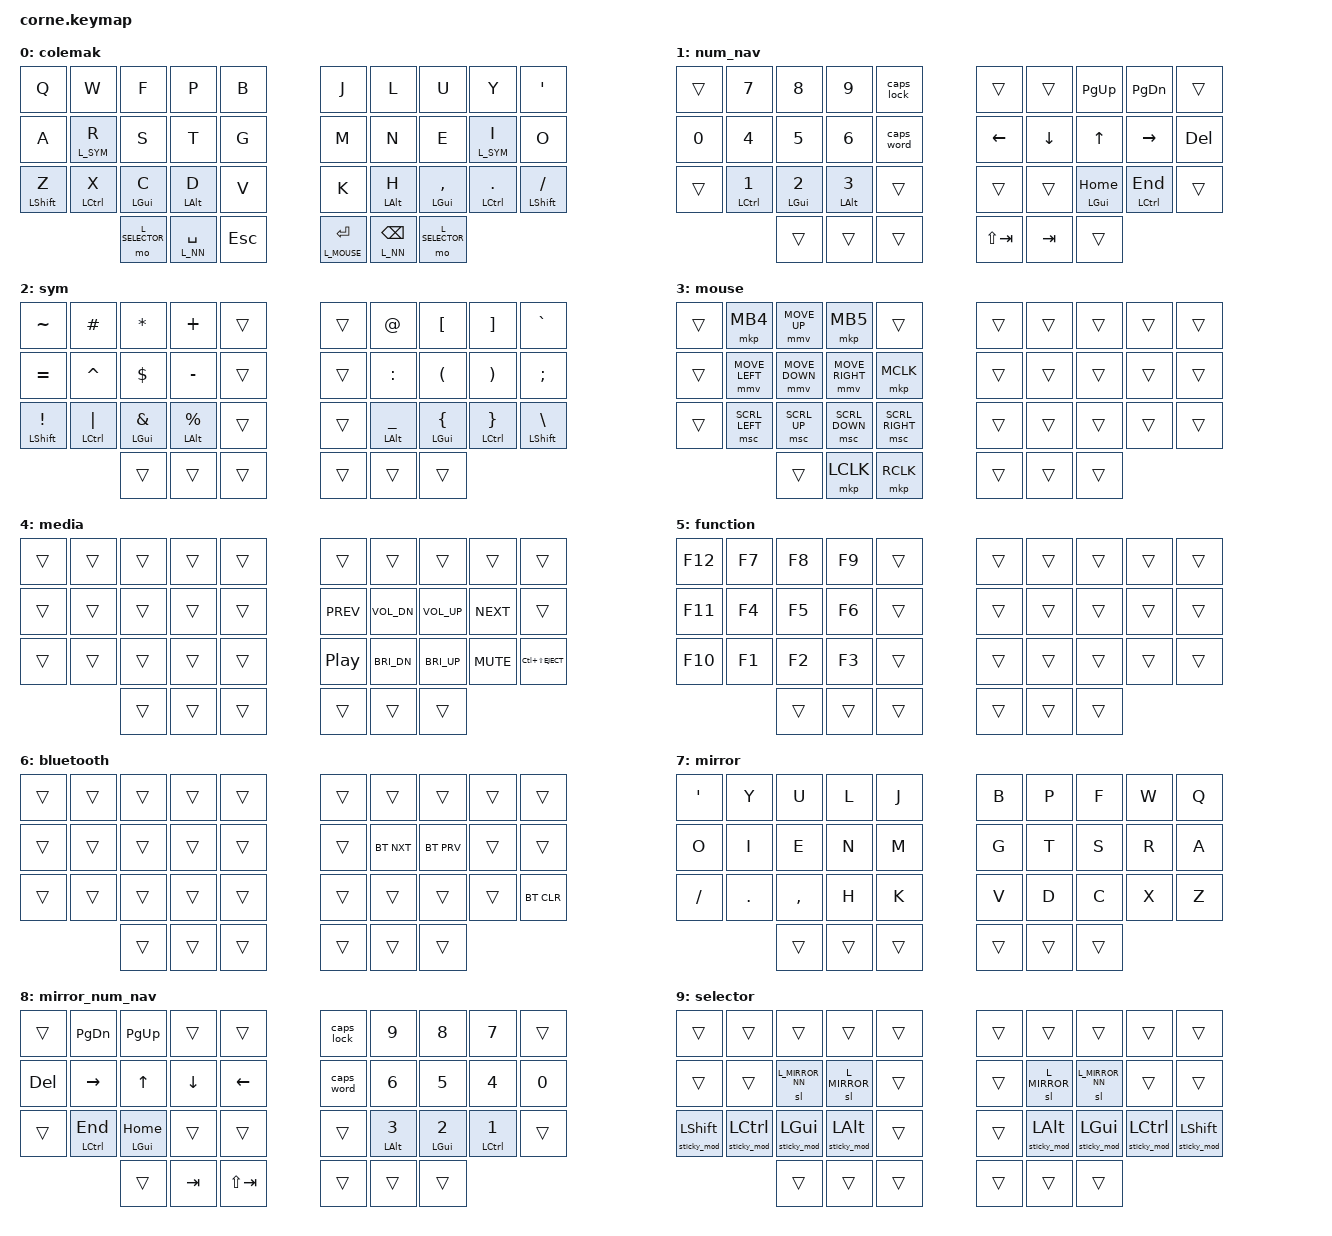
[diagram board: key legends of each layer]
#define ___ &trans

// Keep these indices in sync with the layer order in keymap below.
#define L_BASE 0
#define L_NN 1
#define L_SYM 2
#define L_MOUSE 3
#define L_MED 4
#define L_FUN 5
#define L_BLUETOOTH 6
#define L_MIRROR 7
#define L_MIRROR_NN 8
#define L_SELECTOR 9

#define CK_PRIOR_IDLE 150
#define CK_QUICK_TAP 200
#define CK_LEFT_HAND_KEYS 0 1 2 3 4 10 11 12 13 14 20 21 22 23 24 30 31 32
#define CK_RIGHT_HAND_KEYS 5 6 7 8 9 15 16 17 18 19 25 26 27 28 29 33 34 35

#include <behaviors.dtsi>
#include <dt-bindings/zmk/keys.h>
#include <dt-bindings/zmk/bt.h>

#include <dt-bindings/zmk/pointing.h>
#include <input/processors.dtsi>

&sl {
    release-after-ms = <1500>;
};

/ {
    chosen {
        zmk,physical-layout = &foostan_corne_5col_layout;
    };

    // l/r = hand, m = modifier, l = layer, i = prior idle; tl = thumb layer.
    behaviors {
        // Select any modifiers, select a mirror layer last, then release the thumb.
        sticky_mod: sticky_mod {
            compatible = "zmk,behavior-sticky-key";
            #binding-cells = <1>;
            bindings = <&kp>;
            release-after-ms = <1500>;
            lazy;
            ignore-modifiers;
        };

        // macOS filters short Caps Lock presses; send a fixed-length tap.
        caps_lock: caps_lock {
            compatible = "zmk,behavior-macro";
            #binding-cells = <0>;
            tap-ms = <200>;
            wait-ms = <0>;
            bindings = <&kp CAPS>;
        };

        lm: lm {
            compatible = "zmk,behavior-hold-tap";
            flavor = "balanced";
            bindings = <&kp>, <&kp>;
            #binding-cells = <2>;
            tapping-term-ms = <200>;
            quick-tap-ms = <CK_QUICK_TAP>;
            hold-trigger-key-positions = <CK_RIGHT_HAND_KEYS>;
            hold-trigger-on-release;
        };

        rm: rm {
            compatible = "zmk,behavior-hold-tap";
            flavor = "balanced";
            bindings = <&kp>, <&kp>;
            #binding-cells = <2>;
            tapping-term-ms = <200>;
            quick-tap-ms = <CK_QUICK_TAP>;
            hold-trigger-key-positions = <CK_LEFT_HAND_KEYS>;
            hold-trigger-on-release;
        };

        lmi: lmi {
            compatible = "zmk,behavior-hold-tap";
            flavor = "balanced";
            bindings = <&kp>, <&kp>;
            #binding-cells = <2>;
            tapping-term-ms = <200>;
            quick-tap-ms = <CK_QUICK_TAP>;
            require-prior-idle-ms = <CK_PRIOR_IDLE>;
            hold-trigger-key-positions = <CK_RIGHT_HAND_KEYS>;
            hold-trigger-on-release;
        };

        rmi: rmi {
            compatible = "zmk,behavior-hold-tap";
            flavor = "balanced";
            bindings = <&kp>, <&kp>;
            #binding-cells = <2>;
            tapping-term-ms = <200>;
            quick-tap-ms = <CK_QUICK_TAP>;
            require-prior-idle-ms = <CK_PRIOR_IDLE>;
            hold-trigger-key-positions = <CK_LEFT_HAND_KEYS>;
            hold-trigger-on-release;
        };

        // Thumb layer-taps are not restricted to the opposite hand.
        tl: tl {
            compatible = "zmk,behavior-hold-tap";
            flavor = "balanced";
            bindings = <&mo>, <&kp>;
            #binding-cells = <2>;
            tapping-term-ms = <200>;
            quick-tap-ms = <CK_QUICK_TAP>;
        };

        ll: ll {
            compatible = "zmk,behavior-hold-tap";
            flavor = "balanced";
            bindings = <&mo>, <&kp>;
            #binding-cells = <2>;
            tapping-term-ms = <200>;
            quick-tap-ms = <CK_QUICK_TAP>;
            hold-trigger-key-positions = <CK_RIGHT_HAND_KEYS>;
            hold-trigger-on-release;
        };

        rl: rl {
            compatible = "zmk,behavior-hold-tap";
            flavor = "balanced";
            bindings = <&mo>, <&kp>;
            #binding-cells = <2>;
            tapping-term-ms = <200>;
            quick-tap-ms = <CK_QUICK_TAP>;
            hold-trigger-key-positions = <CK_LEFT_HAND_KEYS>;
            hold-trigger-on-release;
        };
    };

    combos {
        compatible = "zmk,combos";
        combo_media {
            timeout-ms = <40>;
            key-positions = <12 23>;
            bindings = <&mo L_MED>;
            slow-release;
            require-prior-idle-ms = <CK_PRIOR_IDLE>;
        };
        combo_function {
            timeout-ms = <40>;
            key-positions = <17 26>;
            bindings = <&mo L_FUN>;
            slow-release;
            require-prior-idle-ms = <CK_PRIOR_IDLE>;
        };
        combo_bluetooth {
            timeout-ms = <50>;
            key-positions = <0 1 2 3 30>;
            bindings = <&mo L_BLUETOOTH>;
            require-prior-idle-ms = <1000>;
        };
    };

    keymap {
        compatible = "zmk,keymap";

        colemak {
            bindings = <
&kp Q               &kp W               &kp F               &kp P               &kp B               &kp J               &kp L               &kp U               &kp Y               &kp SQT
&kp A               &ll L_SYM R         &kp S               &kp T               &kp G               &kp M               &kp N               &kp E               &rl L_SYM I         &kp O
&lm LSHIFT Z        &lmi LCTRL X        &lmi LGUI C         &lmi LALT D         &kp V               &kp K               &rmi LALT H         &rmi LGUI COMMA     &rmi LCTRL DOT      &rm LSHIFT FSLH
                                        &mo L_SELECTOR      &tl L_NN SPACE      &kp ESC             &tl L_MOUSE RET     &tl L_NN BSPC       &mo L_SELECTOR
            >;
        };

        num_nav {
            bindings = <
___                 &kp N7              &kp N8              &kp N9              &caps_lock          ___                 ___                 &kp PG_UP           &kp PG_DN           ___
&kp N0              &kp N4              &kp N5              &kp N6              &caps_word          &kp LEFT            &kp DOWN            &kp UP              &kp RIGHT           &kp DEL
___                 &lm LCTRL N1        &lm LGUI N2         &lm LALT N3         ___                 ___                 ___                 &rm LGUI HOME       &rm LCTRL END       ___
                                        ___                 ___                 ___                 &kp LS(TAB)         &kp TAB             ___
            >;
        };

        sym {
            bindings = <
&kp TILDE           &kp HASH            &kp STAR            &kp PLUS            ___                 ___                 &kp AT              &kp LBKT            &kp RBKT            &kp GRAVE
&kp EQUAL           &kp CARET           &kp DLLR            &kp MINUS           ___                 ___                 &kp COLON           &kp LPAR            &kp RPAR            &kp SEMI
&lm LSHIFT EXCL     &lm LCTRL PIPE      &lm LGUI AMPS       &lm LALT PRCNT      ___                 ___                 &rm LALT UNDER      &rm LGUI LBRC       &rm LCTRL RBRC      &rm LSHIFT BSLH
                                        ___                 ___                 ___                 ___                 ___                 ___
            >;
        };

        mouse {
            bindings = <
___                 &mkp MB4            &mmv MOVE_UP        &mkp MB5            ___                 ___                 ___                 ___                 ___                 ___
___                 &mmv MOVE_LEFT      &mmv MOVE_DOWN      &mmv MOVE_RIGHT     &mkp MCLK           ___                 ___                 ___                 ___                 ___
___                 &msc SCRL_LEFT      &msc SCRL_UP        &msc SCRL_DOWN      &msc SCRL_RIGHT     ___                 ___                 ___                 ___                 ___
                                        ___                 &mkp LCLK           &mkp RCLK           ___                 ___                 ___
            >;
        };

        media {
            bindings = <
___                 ___                 ___                 ___                 ___                 ___                 ___                 ___                 ___                 ___
___                 ___                 ___                 ___                 ___                 &kp C_PREV          &kp C_VOL_DN        &kp C_VOL_UP        &kp C_NEXT          ___
___                 ___                 ___                 ___                 ___                 &kp C_PP            &kp C_BRI_DN        &kp C_BRI_UP        &kp C_MUTE          &kp LC(LS(C_EJECT))
                                        ___                 ___                 ___                 ___                 ___                 ___
            >;
        };

        function {
            bindings = <
&kp F12             &kp F7              &kp F8              &kp F9              ___                 ___                 ___                 ___                 ___                 ___
&kp F11             &kp F4              &kp F5              &kp F6              ___                 ___                 ___                 ___                 ___                 ___
&kp F10             &kp F1              &kp F2              &kp F3              ___                 ___                 ___                 ___                 ___                 ___
                                        ___                 ___                 ___                 ___                 ___                 ___
            >;
        };

        bluetooth {
            bindings = <
___                 ___                 ___                 ___                 ___                 ___                 ___                 ___                 ___                 ___
___                 ___                 ___                 ___                 ___                 ___                 &bt BT_NXT          &bt BT_PRV          ___                 ___
___                 ___                 ___                 ___                 ___                 ___                 ___                 ___                 ___                 &bt BT_CLR
                                        ___                 ___                 ___                 ___                 ___                 ___
            >;
        };

        mirror {
            bindings = <
&kp SQT             &kp Y               &kp U               &kp L               &kp J               &kp B               &kp P               &kp F               &kp W               &kp Q
&kp O               &kp I               &kp E               &kp N               &kp M               &kp G               &kp T               &kp S               &kp R               &kp A
&kp FSLH            &kp DOT             &kp COMMA           &kp H               &kp K               &kp V               &kp D               &kp C               &kp X               &kp Z
                                        ___                 ___                 ___                 ___                 ___                 ___
            >;
        };

        mirror_num_nav {
            bindings = <
___                 &kp PG_DN           &kp PG_UP           ___                 ___                 &caps_lock          &kp N9              &kp N8              &kp N7              ___
&kp DEL             &kp RIGHT           &kp UP              &kp DOWN            &kp LEFT            &caps_word          &kp N6              &kp N5              &kp N4              &kp N0
___                 &lm LCTRL END       &lm LGUI HOME       ___                 ___                 ___                 &rm LALT N3         &rm LGUI N2         &rm LCTRL N1        ___
                                        ___                 &kp TAB             &kp LS(TAB)         ___                 ___                 ___
            >;
        };

        // Put this one last so that we can select L_MIRROR and then LGUI without going to the mirror layer right away
        selector {
            bindings = <
___                 ___                 ___                 ___                 ___                 ___                 ___                 ___                 ___                 ___
___                 ___                 &sl L_MIRROR_NN     &sl L_MIRROR        ___                 ___                 &sl L_MIRROR        &sl L_MIRROR_NN     ___                 ___
&sticky_mod LSHIFT  &sticky_mod LCTRL   &sticky_mod LGUI    &sticky_mod LALT    ___                 ___                 &sticky_mod LALT    &sticky_mod LGUI    &sticky_mod LCTRL   &sticky_mod LSHIFT
                                        ___                 ___                 ___                 ___                 ___                 ___
            >;
        };
    };
};
